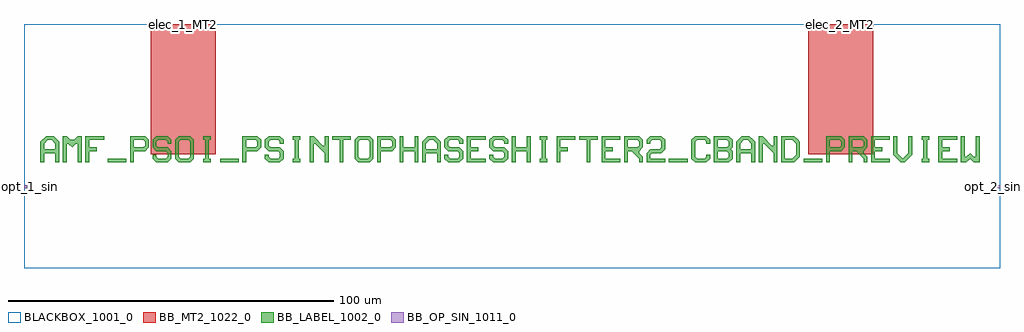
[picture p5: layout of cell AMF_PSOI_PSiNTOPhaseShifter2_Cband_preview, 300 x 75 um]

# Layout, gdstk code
import gdstk
lib = gdstk.Library(unit=1e-6, precision=1e-09)
def R(c, l, rs):  # rectangles x0, y0, x1, y1
    for r in rs: c.add(gdstk.rectangle(r[:2], r[2:], *l))
def P(c, l, *ps):  # polygons
    for p in ps: c.add(gdstk.Polygon(p, *l))
BLACKBOX_1001_0 = (1001, 0)
BB_LABEL_1002_0 = (1002, 0)
BB_OP_SIN_1011_0 = (1011, 0)
BB_MT2_1022_0 = (1022, 0)

amf_psoi_psintophaseshif = lib.new_cell('AMF_PSOI_PSiNTOPhaseShifter2_Cband_preview')
R(amf_psoi_psintophaseshif, BLACKBOX_1001_0, [(0,-25,300,50)])
R(amf_psoi_psintophaseshif, BB_LABEL_1002_0, [(25.752,7.457,31.502,8.607), (60.252,7.457,66.002,8.607), (198.252,7.457,204.002,8.607), (239.652,7.457,245.402,8.607)])
P(amf_psoi_psintophaseshif, BB_LABEL_1002_0, [(5.052,7.457),(5.052,13.782),(6.777,15.507),(9.077,15.507),(10.227,14.357),(7.352,14.357),(6.202,13.207),(6.202,11.482),(9.652,11.482),(9.652,13.207),(8.502,14.357),(10.227,14.357),(10.802,13.782),(10.802,7.457),(9.652,7.457),(9.652,10.332),(6.202,10.332),(6.202,7.457)],
  [(11.952,7.457),(11.952,15.507),(13.102,15.507),(14.252,14.357),(15.402,14.357),(16.552,15.507),(17.702,15.507),(17.702,7.457),(16.552,7.457),(16.552,13.207),(15.977,13.207),(14.827,12.057),(13.677,13.207),(13.102,13.207),(13.102,7.457)],
  [(18.852,7.457),(18.852,15.507),(24.602,15.507),(24.602,14.357),(20.002,14.357),(20.002,12.057),(22.302,12.057),(22.302,10.907),(20.002,10.907),(20.002,7.457)],
  [(32.652,7.457),(32.652,15.507),(37.252,15.507),(38.402,14.357),(38.402,12.057),(37.252,10.907),(33.802,10.907),(33.802,12.057),(36.677,12.057),(37.252,12.632),(37.252,13.782),(36.677,14.357),(33.802,14.357),(33.802,7.457)],
  [(40.702,7.457),(39.552,8.607),(39.552,9.757),(40.702,9.757),(40.702,9.182),(41.277,8.607),(43.577,8.607),(44.152,9.182),(44.152,10.332),(43.577,10.907),(40.702,10.907),(39.552,12.057),(39.552,14.357),(40.702,15.507),(44.152,15.507),(45.302,14.357),(45.302,13.207),(44.152,13.207),(44.152,13.782),(43.577,14.357),(41.277,14.357),(40.702,13.782),(40.702,12.632),(41.277,12.057),(44.152,12.057),(45.302,10.907),(45.302,8.607),(44.152,7.457)],
  [(47.602,7.457),(46.452,8.607),(46.452,14.357),(47.602,15.507),(51.052,15.507),(52.202,14.357),(52.202,11.482),(51.052,11.482),(51.052,13.782),(50.477,14.357),(48.177,14.357),(47.602,13.782),(47.602,9.182),(48.177,8.607),(50.477,8.607),(51.052,9.182),(51.052,11.482),(52.202,11.482),(52.202,8.607),(51.052,7.457)],
  [(55.077,7.457),(55.077,8.607),(55.652,8.607),(55.652,14.357),(55.077,14.357),(55.077,15.507),(57.377,15.507),(57.377,14.357),(56.802,14.357),(56.802,8.607),(57.377,8.607),(57.377,7.457)],
  [(67.152,7.457),(67.152,15.507),(71.752,15.507),(72.902,14.357),(72.902,12.057),(71.752,10.907),(68.302,10.907),(68.302,12.057),(71.177,12.057),(71.752,12.632),(71.752,13.782),(71.177,14.357),(68.302,14.357),(68.302,7.457)],
  [(75.202,7.457),(74.052,8.607),(74.052,9.757),(75.202,9.757),(75.202,9.182),(75.777,8.607),(78.077,8.607),(78.652,9.182),(78.652,10.332),(78.077,10.907),(75.202,10.907),(74.052,12.057),(74.052,14.357),(75.202,15.507),(78.652,15.507),(79.802,14.357),(79.802,13.207),(78.652,13.207),(78.652,13.782),(78.077,14.357),(75.777,14.357),(75.202,13.782),(75.202,12.632),(75.777,12.057),(78.652,12.057),(79.802,10.907),(79.802,8.607),(78.652,7.457)],
  [(82.677,7.457),(82.677,8.607),(83.252,8.607),(83.252,14.357),(82.677,14.357),(82.677,15.507),(84.977,15.507),(84.977,14.357),(84.402,14.357),(84.402,8.607),(84.977,8.607),(84.977,7.457)],
  [(87.852,7.457),(87.852,15.507),(89.002,15.507),(91.877,12.632),(92.452,12.632),(92.452,15.507),(93.602,15.507),(93.602,7.457),(92.452,7.457),(92.452,10.332),(89.577,13.207),(89.002,13.207),(89.002,7.457)],
  [(97.052,7.457),(97.052,14.357),(94.752,14.357),(94.752,15.507),(100.502,15.507),(100.502,14.357),(98.202,14.357),(98.202,7.457)],
  [(102.802,7.457),(101.652,8.607),(101.652,14.357),(102.802,15.507),(106.252,15.507),(107.402,14.357),(107.402,11.482),(106.252,11.482),(106.252,13.782),(105.677,14.357),(103.377,14.357),(102.802,13.782),(102.802,9.182),(103.377,8.607),(105.677,8.607),(106.252,9.182),(106.252,11.482),(107.402,11.482),(107.402,8.607),(106.252,7.457)],
  [(108.552,7.457),(108.552,15.507),(113.152,15.507),(114.302,14.357),(114.302,12.057),(113.152,10.907),(109.702,10.907),(109.702,12.057),(112.577,12.057),(113.152,12.632),(113.152,13.782),(112.577,14.357),(109.702,14.357),(109.702,7.457)],
  [(115.452,7.457),(115.452,15.507),(116.602,15.507),(116.602,12.057),(120.052,12.057),(120.052,15.507),(121.202,15.507),(121.202,7.457),(120.052,7.457),(120.052,10.907),(116.602,10.907),(116.602,7.457)],
  [(122.352,7.457),(122.352,13.782),(124.077,15.507),(126.377,15.507),(127.527,14.357),(124.652,14.357),(123.502,13.207),(123.502,11.482),(126.952,11.482),(126.952,13.207),(125.802,14.357),(127.527,14.357),(128.102,13.782),(128.102,7.457),(126.952,7.457),(126.952,10.332),(123.502,10.332),(123.502,7.457)],
  [(130.402,7.457),(129.252,8.607),(129.252,9.757),(130.402,9.757),(130.402,9.182),(130.977,8.607),(133.277,8.607),(133.852,9.182),(133.852,10.332),(133.277,10.907),(130.402,10.907),(129.252,12.057),(129.252,14.357),(130.402,15.507),(133.852,15.507),(135.002,14.357),(135.002,13.207),(133.852,13.207),(133.852,13.782),(133.277,14.357),(130.977,14.357),(130.402,13.782),(130.402,12.632),(130.977,12.057),(133.852,12.057),(135.002,10.907),(135.002,8.607),(133.852,7.457)],
  [(136.152,7.457),(136.152,15.507),(141.902,15.507),(141.902,14.357),(137.302,14.357),(137.302,12.057),(139.602,12.057),(139.602,10.907),(137.302,10.907),(137.302,8.607),(141.902,8.607),(141.902,7.457)],
  [(144.202,7.457),(143.052,8.607),(143.052,9.757),(144.202,9.757),(144.202,9.182),(144.777,8.607),(147.077,8.607),(147.652,9.182),(147.652,10.332),(147.077,10.907),(144.202,10.907),(143.052,12.057),(143.052,14.357),(144.202,15.507),(147.652,15.507),(148.802,14.357),(148.802,13.207),(147.652,13.207),(147.652,13.782),(147.077,14.357),(144.777,14.357),(144.202,13.782),(144.202,12.632),(144.777,12.057),(147.652,12.057),(148.802,10.907),(148.802,8.607),(147.652,7.457)],
  [(149.952,7.457),(149.952,15.507),(151.102,15.507),(151.102,12.057),(154.552,12.057),(154.552,15.507),(155.702,15.507),(155.702,7.457),(154.552,7.457),(154.552,10.907),(151.102,10.907),(151.102,7.457)],
  [(158.577,7.457),(158.577,8.607),(159.152,8.607),(159.152,14.357),(158.577,14.357),(158.577,15.507),(160.877,15.507),(160.877,14.357),(160.302,14.357),(160.302,8.607),(160.877,8.607),(160.877,7.457)],
  [(163.752,7.457),(163.752,15.507),(169.502,15.507),(169.502,14.357),(164.902,14.357),(164.902,12.057),(167.202,12.057),(167.202,10.907),(164.902,10.907),(164.902,7.457)],
  [(172.952,7.457),(172.952,14.357),(170.652,14.357),(170.652,15.507),(176.402,15.507),(176.402,14.357),(174.102,14.357),(174.102,7.457)],
  [(177.552,7.457),(177.552,15.507),(183.302,15.507),(183.302,14.357),(178.702,14.357),(178.702,12.057),(181.002,12.057),(181.002,10.907),(178.702,10.907),(178.702,8.607),(183.302,8.607),(183.302,7.457)],
  [(184.452,7.457),(184.452,15.507),(189.052,15.507),(190.202,14.357),(185.602,14.357),(185.602,12.057),(188.477,12.057),(189.052,12.632),(189.052,13.782),(188.477,14.357),(190.202,14.357),(190.202,12.057),(189.052,10.907),(189.052,10.332),(190.202,9.182),(190.202,7.457),(189.052,7.457),(189.052,8.607),(186.752,10.907),(185.602,10.907),(185.602,7.457)],
  [(191.352,7.457),(191.352,10.332),(192.502,11.482),(195.377,11.482),(195.952,12.057),(195.952,13.782),(195.377,14.357),(193.077,14.357),(192.502,13.782),(192.502,13.207),(191.352,13.207),(191.352,14.357),(192.502,15.507),(195.952,15.507),(197.102,14.357),(197.102,11.482),(195.952,10.332),(193.077,10.332),(192.502,9.757),(192.502,8.607),(197.102,8.607),(197.102,7.457)],
  [(206.302,7.457),(205.152,8.607),(205.152,14.357),(206.302,15.507),(209.752,15.507),(210.902,14.357),(210.902,13.207),(209.752,13.207),(209.752,13.782),(209.177,14.357),(206.877,14.357),(206.302,13.782),(206.302,9.182),(206.877,8.607),(209.177,8.607),(209.752,9.182),(209.752,9.757),(210.902,9.757),(210.902,8.607),(209.752,7.457)],
  [(212.052,7.457),(212.052,15.507),(216.652,15.507),(217.802,14.357),(213.202,14.357),(213.202,12.057),(216.077,12.057),(216.652,12.632),(216.652,13.782),(216.077,14.357),(217.802,14.357),(217.802,12.057),(217.227,11.482),(217.802,10.907),(213.202,10.907),(213.202,8.607),(216.077,8.607),(216.652,9.182),(216.652,10.332),(216.077,10.907),(217.802,10.907),(217.802,8.607),(216.652,7.457)],
  [(218.952,7.457),(218.952,13.782),(220.677,15.507),(222.977,15.507),(224.127,14.357),(221.252,14.357),(220.102,13.207),(220.102,11.482),(223.552,11.482),(223.552,13.207),(222.402,14.357),(224.127,14.357),(224.702,13.782),(224.702,7.457),(223.552,7.457),(223.552,10.332),(220.102,10.332),(220.102,7.457)],
  [(225.852,7.457),(225.852,15.507),(227.002,15.507),(229.877,12.632),(230.452,12.632),(230.452,15.507),(231.602,15.507),(231.602,7.457),(230.452,7.457),(230.452,10.332),(227.577,13.207),(227.002,13.207),(227.002,7.457)],
  [(232.752,7.457),(232.752,15.507),(236.777,15.507),(237.927,14.357),(233.902,14.357),(233.902,8.607),(236.202,8.607),(237.352,9.757),(237.352,13.207),(236.202,14.357),(237.927,14.357),(238.502,13.782),(238.502,9.182),(236.777,7.457)],
  [(246.552,7.457),(246.552,15.507),(251.152,15.507),(252.302,14.357),(252.302,12.057),(251.152,10.907),(247.702,10.907),(247.702,12.057),(250.577,12.057),(251.152,12.632),(251.152,13.782),(250.577,14.357),(247.702,14.357),(247.702,7.457)],
  [(253.452,7.457),(253.452,15.507),(258.052,15.507),(259.202,14.357),(254.602,14.357),(254.602,12.057),(257.477,12.057),(258.052,12.632),(258.052,13.782),(257.477,14.357),(259.202,14.357),(259.202,12.057),(258.052,10.907),(258.052,10.332),(259.202,9.182),(259.202,7.457),(258.052,7.457),(258.052,8.607),(255.752,10.907),(254.602,10.907),(254.602,7.457)],
  [(260.352,7.457),(260.352,15.507),(266.102,15.507),(266.102,14.357),(261.502,14.357),(261.502,12.057),(263.802,12.057),(263.802,10.907),(261.502,10.907),(261.502,8.607),(266.102,8.607),(266.102,7.457)],
  [(269.552,7.457),(267.252,9.757),(267.252,15.507),(268.402,15.507),(268.402,10.332),(270.127,8.607),(271.852,10.332),(271.852,15.507),(273.002,15.507),(273.002,9.757),(270.702,7.457)],
  [(275.877,7.457),(275.877,8.607),(276.452,8.607),(276.452,14.357),(275.877,14.357),(275.877,15.507),(278.177,15.507),(278.177,14.357),(277.602,14.357),(277.602,8.607),(278.177,8.607),(278.177,7.457)],
  [(281.052,7.457),(281.052,15.507),(286.802,15.507),(286.802,14.357),(282.202,14.357),(282.202,12.057),(284.502,12.057),(284.502,10.907),(282.202,10.907),(282.202,8.607),(286.802,8.607),(286.802,7.457)],
  [(287.952,7.457),(287.952,15.507),(289.102,15.507),(289.102,9.182),(289.677,9.182),(290.827,10.332),(291.977,9.182),(292.552,9.182),(292.552,15.507),(293.702,15.507),(293.702,7.457),(291.977,7.457),(290.827,8.607),(289.677,7.457)])
R(amf_psoi_psintophaseshif, BB_OP_SIN_1011_0, [(0,-0.5,1,0.5), (299,-0.5,300,0.5)])
R(amf_psoi_psintophaseshif, BB_MT2_1022_0, [(39,10,59,50), (241,10,261,50)])
amf_psoi_psintophaseshif.add(gdstk.Label('elec_1_MT2', (49,50), layer=1022, texttype=0))
amf_psoi_psintophaseshif.add(gdstk.Label('elec_2_MT2', (251,50), layer=1022, texttype=0))
amf_psoi_psintophaseshif.add(gdstk.Label('opt_2_sin', (300,0), layer=1011, texttype=0))
amf_psoi_psintophaseshif.add(gdstk.Label('opt_1_sin', (0,0), layer=1011, texttype=0))

lib.write_gds('AMF_PSOI_PSiNTOPhaseShifter2_Cband_preview.gds')
